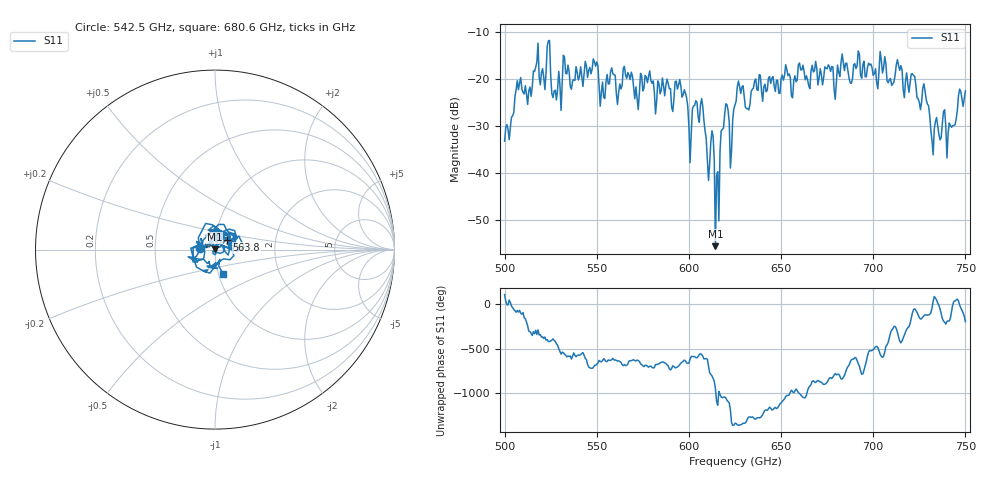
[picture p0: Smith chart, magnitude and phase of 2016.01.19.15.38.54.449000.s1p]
!Created with skrf (http://scikit-rf.org).
# GHz S RI R 50.0
!freq ReS11 ImS11
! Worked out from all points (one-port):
!   401 points, 500 GHz to 750 GHz, reference 50 ohm
!   lowest |S11| = -55.6 dB at 614.4 GHz (marker M1), VSWR 1.00, Z = 49.9 + j0.134 ohm
!   |S11| at or under -10 dB: start of sweep to end of sweep
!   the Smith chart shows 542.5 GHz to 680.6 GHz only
!   S11 on the Smith chart (normalised r, x): 542.5 GHz: 0.85, +0.02; 563.8 GHz: 1.13, +0.12; 680.6 GHz: 1.05, -0.29
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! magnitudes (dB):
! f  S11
! 500 GHz  -33.2
! 507.5 GHz  -22.3
! 513.1 GHz  -22.5
! 516.9 GHz  -17.5
! 520.6 GHz  -17.8
! 523.8 GHz  -11.9
! 526.9 GHz  -22.5
! 531.2 GHz  -20.9
! 542.5 GHz  -21.6
! 562.5 GHz  -21.0
! 563.8 GHz  -21.4
! 593.8 GHz  -22.1
! 600.6 GHz  -37.8
! 607.5 GHz  -25.8
! 610 GHz  -37.3
! 614.4 GHz  -55.6
! 615.6 GHz  -39.7
! 619.4 GHz  -27.7
! 623.1 GHz  -35.2
! 625 GHz  -25.5
! 656.2 GHz  -24.0
! 680.6 GHz  -17.0
! 687.5 GHz  -20.8
! 705 GHz  -18.7
! 718.8 GHz  -21.0
! 728.1 GHz  -22.6
! 732.5 GHz  -36.2
! 750 GHz  -22.5
